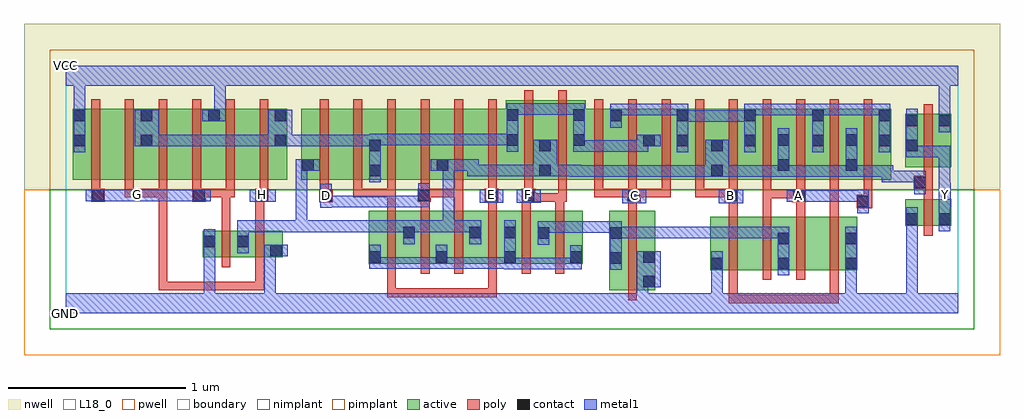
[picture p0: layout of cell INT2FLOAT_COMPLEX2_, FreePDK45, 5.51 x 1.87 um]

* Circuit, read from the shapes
.subckt INT2FLOAT_COMPLEX2_ A B C D E F G GND H VCC Y
M1 n1 G GND VSUBS nfet w=0.15u l=0.05u
M2 GND H n1 VSUBS nfet w=0.15u l=0.05u
M3 n1 E n2 VSUBS nfet w=0.3u l=0.05u m=2
M4 n2 D n1 VSUBS nfet w=0.3u l=0.05u m=2
M5 n3 F n2 VSUBS nfet w=0.3u l=0.05u m=2
M6 GND C n3 VSUBS nfet w=0.45u l=0.05u
M7 n4 B GND VSUBS nfet w=0.3u l=0.05u
M8 n3 A n4 VSUBS nfet w=0.3u l=0.05u
M9 n5 A n3 VSUBS nfet w=0.3u l=0.05u
M10 GND B n5 VSUBS nfet w=0.3u l=0.05u
M11 Y n1 GND VSUBS nfet w=0.15u l=0.05u
M12 n6 G VCC n7 pfet w=0.4u l=0.05u
M13 n8 H n6 n7 pfet w=0.4u l=0.05u
M14 n9 H n8 n7 pfet w=0.4u l=0.05u
M15 VCC G n9 n7 pfet w=0.4u l=0.05u
M16 n10 G VCC n7 pfet w=0.4u l=0.05u
M17 n8 H n10 n7 pfet w=0.4u l=0.05u
M18 n11 D n1 n7 pfet w=0.4u l=0.05u
M19 n8 E n11 n7 pfet w=0.4u l=0.05u
M20 n12 E n8 n7 pfet w=0.4u l=0.05u
M21 n1 D n12 n7 pfet w=0.4u l=0.05u
M22 n13 D n1 n7 pfet w=0.4u l=0.05u
M23 n8 E n13 n7 pfet w=0.4u l=0.05u
M24 n1 F n8 n7 pfet w=0.45u l=0.05u m=2
M25 n14 C n8 n7 pfet w=0.4u l=0.05u m=3
M26 n1 B n14 n7 pfet w=0.4u l=0.05u m=3
M27 n1 A n14 n7 pfet w=0.4u l=0.05u m=3
M28 VCC n1 Y n7 pfet w=0.3u l=0.05u
.ends

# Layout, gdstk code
import gdstk
lib = gdstk.Library(unit=1e-6, precision=1e-09)
def R(c, l, rs):  # rectangles x0, y0, x1, y1
    for r in rs: c.add(gdstk.rectangle(r[:2], r[2:], *l))
def A(c, l, x, y, w, h, nx, ny, dx, dy):  # array of equal rectangles
    R(c, l, [(x+i*dx, y+j*dy, x+i*dx+w, y+j*dy+h) for i in range(nx) for j in range(ny)])
active = (1, 0)
pwell = (2, 0)
nwell = (3, 0)
nimplant = (4, 0)
pimplant = (5, 0)
poly = (9, 0)
contact = (10, 0)
metal1 = (11, 0)
L18_0 = (18, 0)
boundary = (235, 0)

int2float_complex2_ = lib.new_cell('INT2FLOAT_COMPLEX2_')
A(int2float_complex2_, active, 0.04, 0.755, 0.225, 0.4, 3, 1, 0.38, 0)
A(int2float_complex2_, active, 1.33, 0.755, 0.225, 0.4, 3, 1, 0.38, 0)
R(int2float_complex2_, active, [(3.07,0.13,3.33,0.58), (3.255,0.13,3.33,0.547), (3.07,0.195,3.145,0.58), (3.64,0.245,3.715,0.545), (3.64,0.245,3.865,0.545), (3.865,0.245,4.09,0.545), (4.015,0.245,4.245,0.545), (4.015,0.245,4.09,0.517), (4.245,0.245,4.47,0.545), (4.395,0.245,4.47,0.545), (1.71,0.28,1.785,0.58), (1.71,0.28,1.975,0.58), (1.9,0.28,2.16,0.58), (2.085,0.28,2.35,0.58), (2.085,0.28,2.16,0.517), (2.275,0.28,2.545,0.58), (2.47,0.28,2.735,0.58), (2.47,0.28,2.545,0.495), (2.66,0.28,2.92,0.58), (2.845,0.28,2.92,0.58), (0.775,0.317,0.85,0.467), (0.775,0.317,1.04,0.467), (0.965,0.317,1.04,0.467), (0.965,0.317,1.225,0.467), (1.15,0.317,1.225,0.467), (1.9,0.345,1.975,0.495), (2.275,0.345,2.35,0.495), (2.66,0.345,2.735,0.492), (4.74,0.495,4.815,0.645), (4.74,0.495,5,0.645), (4.925,0.495,5,0.645), (0.04,0.755,0.115,1.155), (0.265,0.755,0.495,1.155), (0.42,0.755,0.495,1.155), (0.645,0.755,0.875,1.155), (1.025,0.755,1.25,1.155), (1.175,0.755,1.25,1.155), (1.33,0.755,1.435,1.07), (1.555,0.755,1.785,1.155), (1.71,0.755,1.785,1.155), (1.935,0.755,2.165,1.155), (2.09,0.755,2.165,1.07), (2.315,0.755,2.56,1.155), (2.485,0.755,2.745,1.205), (2.67,0.755,2.745,1.07), (2.67,0.755,2.935,1.205), (2.86,0.755,3.145,1.155), (3.07,0.755,3.33,1.155), (3.255,0.755,3.52,1.155), (3.445,0.755,3.52,1.155), (3.445,0.755,3.715,1.155), (3.64,0.755,3.9,1.155), (3.64,0.755,3.715,1.07), (3.825,0.755,4.09,1.155), (4.015,0.755,4.09,1.07), (4.015,0.755,4.285,1.155), (4.21,0.755,4.475,1.155), (4.4,0.755,4.66,1.155), (4.4,0.755,4.475,1.07), (4.585,0.755,4.66,1.155), (2.485,0.827,2.56,1.2), (2.86,0.827,2.935,1.2), (3.825,0.827,3.9,1.155), (4.21,0.827,4.285,1.155), (4.74,0.827,4.815,1.127), (4.74,0.827,5,1.127), (4.925,0.827,5,1.127), (3.255,0.852,3.33,1.07), (0.8,0.907,0.875,1.155), (3.07,0.907,3.145,1.155)])
R(int2float_complex2_, pwell, [(-0.235,-0.235,5.275,0.7)])
R(int2float_complex2_, nwell, [(-0.235,0.7,5.275,1.635)])
R(int2float_complex2_, nimplant, [(-0.09,-0.09,5.13,0.7)])
R(int2float_complex2_, pimplant, [(-0.09,0.7,5.13,1.49)])
A(int2float_complex2_, poly, 3.745, 0.19, 0.05, 0.41, 4, 1, 0.19, 0)
A(int2float_complex2_, poly, 1.815, 0.225, 0.05, 0.41, 6, 1, 0.19, 0)
A(int2float_complex2_, poly, 2.385, 0.585, 0.05, 0.095, 3, 1, 0.19, 0)
A(int2float_complex2_, poly, 0.145, 0.655, 0.05, 0.095, 6, 1, 0.19, 0)
A(int2float_complex2_, poly, 1.625, 0.655, 0.05, 0.095, 5, 1, 0.19, 0)
A(int2float_complex2_, poly, 2.985, 0.655, 0.05, 0.095, 5, 1, 0.19, 0)
A(int2float_complex2_, poly, 0.145, 0.7, 0.05, 0.51, 6, 1, 0.19, 0)
A(int2float_complex2_, poly, 1.435, 0.7, 0.05, 0.51, 6, 1, 0.19, 0)
A(int2float_complex2_, poly, 2.985, 0.7, 0.05, 0.51, 9, 1, 0.19, 0)
R(int2float_complex2_, poly, [(3.745,0.057,3.795,0.107), (3.745,0.057,3.795,0.107), (3.745,0.057,3.795,0.107), (3.745,0.057,3.795,0.24), (3.745,0.057,4.02,0.107), (3.97,0.057,4.02,0.107), (3.97,0.057,4.02,0.107), (3.97,0.057,4.02,0.107), (3.97,0.057,4.232,0.107), (4.182,0.057,4.232,0.107), (4.182,0.057,4.365,0.107), (4.315,0.057,4.365,0.107), (4.315,0.057,4.365,0.107), (4.315,0.057,4.365,0.107), (4.315,0.057,4.365,0.24), (3.175,0.075,3.225,0.635), (1.815,0.092,1.865,0.142), (1.815,0.092,1.865,0.142), (1.815,0.092,1.865,0.142), (1.815,0.092,1.865,0.275), (1.815,0.092,2.112,0.142), (2.062,0.092,2.112,0.142), (2.062,0.092,2.112,0.142), (2.062,0.092,2.112,0.142), (2.062,0.092,2.285,0.142), (2.235,0.092,2.285,0.142), (2.235,0.092,2.435,0.142), (2.385,0.092,2.435,0.142), (2.385,0.092,2.435,0.142), (2.385,0.092,2.435,0.142), (2.385,0.092,2.435,0.275), (0.525,0.13,0.575,0.18), (0.525,0.13,0.725,0.18), (0.525,0.13,0.575,0.705), (0.675,0.13,0.725,0.18), (0.675,0.13,0.725,0.18), (0.675,0.13,0.725,0.18), (0.675,0.13,0.725,0.18), (0.675,0.13,0.725,0.18), (0.675,0.13,0.947,0.18), (0.897,0.13,0.947,0.18), (0.897,0.13,0.947,0.18), (0.897,0.13,0.947,0.18), (0.897,0.13,1.12,0.18), (1.07,0.13,1.12,0.18), (1.07,0.13,1.12,0.18), (1.07,0.13,1.12,0.18), (1.07,0.13,1.12,0.312), (0.88,0.262,0.93,0.522), (1.07,0.262,1.12,0.522), (4.845,0.44,4.895,0.7), (0.88,0.472,0.93,0.705), (1.07,0.472,1.12,0.68), (3.745,0.55,3.795,0.68), (3.935,0.55,3.985,0.702), (4.125,0.55,4.175,0.677), (4.315,0.55,4.365,0.705), (1.815,0.585,1.865,0.705), (2.005,0.585,2.055,0.68), (2.195,0.585,2.245,0.705), (3.175,0.585,3.225,0.68), (4.465,0.595,4.555,0.67), (4.505,0.62,4.555,0.75), (1.432,0.627,1.507,0.702), (4.102,0.627,4.177,0.702), (0.145,0.63,0.22,0.705), (0.715,0.63,0.79,0.705), (1.07,0.63,1.145,0.705), (1.987,0.63,2.062,0.705), (2.367,0.63,2.442,0.705), (2.575,0.63,2.652,0.705), (2.602,0.63,2.815,0.68), (2.765,0.63,2.815,0.68), (2.765,0.63,2.815,0.68), (2.765,0.63,2.83,0.68), (2.78,0.63,2.83,0.75), (3.172,0.63,3.247,0.705), (3.72,0.63,3.795,0.705), (4.845,0.65,4.895,0.752), (1.435,0.652,1.485,0.75), (3.935,0.652,3.985,0.702), (3.935,0.652,3.985,0.75), (3.935,0.652,4.152,0.702), (4.102,0.652,4.152,0.702), (4.102,0.652,4.152,0.702), (4.125,0.652,4.175,0.75), (0.335,0.655,0.385,0.705), (0.335,0.655,0.575,0.705), (0.525,0.655,0.575,0.705), (0.525,0.655,0.575,0.705), (0.525,0.655,0.575,0.705), (0.525,0.655,0.575,0.705), (0.525,0.655,0.575,0.705), (0.74,0.655,0.93,0.705), (0.88,0.655,0.93,0.705), (0.88,0.655,0.93,0.705), (0.88,0.655,0.955,0.705), (1.625,0.655,1.675,0.705), (1.625,0.655,1.675,0.705), (1.625,0.655,1.675,0.705), (1.625,0.655,1.865,0.705), (1.815,0.655,1.865,0.705), (2.012,0.655,2.062,0.705), (2.012,0.655,2.062,0.705), (2.012,0.655,2.245,0.705), (2.195,0.655,2.245,0.705), (2.59,0.655,2.64,0.75), (2.985,0.655,3.035,0.705), (2.985,0.655,3.035,0.705), (2.985,0.655,3.035,0.705), (2.985,0.655,3.222,0.705), (3.197,0.655,3.415,0.705), (3.365,0.655,3.415,0.705), (3.365,0.655,3.415,0.705), (3.365,0.655,3.415,0.705), (3.555,0.655,3.605,0.705), (3.555,0.655,3.605,0.705), (3.555,0.655,3.605,0.705), (3.555,0.655,3.77,0.705), (4.315,0.655,4.365,0.75), (4.315,0.655,4.365,0.705), (2.59,0.7,2.64,1.26), (2.78,0.7,2.83,1.26), (4.787,0.702,4.895,0.777), (4.845,0.727,4.895,0.822), (4.845,0.772,4.895,1.182)])
A(int2float_complex2_, contact, 0.045, 1.085, 0.065, 0.065, 3, 1, 0.38, 0)
R(int2float_complex2_, contact, [(3.26,0.147,3.325,0.212), (3.645,0.25,3.71,0.315), (4.02,0.25,4.085,0.315), (4.4,0.25,4.465,0.315), (3.075,0.282,3.14,0.347), (2.475,0.285,2.54,0.35), (2.85,0.285,2.915,0.35), (1.715,0.287,1.78,0.352), (2.09,0.287,2.155,0.352), (3.26,0.287,3.325,0.352), (1.155,0.322,1.22,0.387), (0.78,0.375,0.845,0.44), (0.97,0.375,1.035,0.44), (4.02,0.39,4.085,0.455), (4.4,0.39,4.465,0.455), (2.665,0.422,2.73,0.487), (3.075,0.422,3.14,0.487), (1.905,0.425,1.97,0.49), (2.28,0.425,2.345,0.49), (2.475,0.425,2.54,0.49), (4.745,0.5,4.81,0.565), (4.93,0.5,4.995,0.565), (4.47,0.6,4.535,0.665), (1.437,0.632,1.502,0.697), (4.107,0.632,4.172,0.697), (0.15,0.635,0.215,0.7), (0.72,0.635,0.785,0.7), (1.075,0.635,1.14,0.7), (1.992,0.635,2.057,0.7), (2.372,0.635,2.437,0.7), (2.582,0.635,2.647,0.7), (3.177,0.635,3.242,0.7), (3.725,0.635,3.79,0.7), (4.792,0.707,4.857,0.772), (1.715,0.775,1.78,0.84), (2.675,0.775,2.74,0.84), (3.645,0.775,3.71,0.84), (1.335,0.805,1.4,0.87), (2.095,0.807,2.16,0.872), (4.02,0.807,4.085,0.872), (4.405,0.807,4.47,0.872), (1.715,0.915,1.78,0.98), (2.675,0.915,2.74,0.98), (3.645,0.915,3.71,0.98), (4.745,0.917,4.81,0.982), (0.045,0.945,0.11,1.01), (0.425,0.945,0.49,1.01), (1.18,0.945,1.245,1.01), (3.26,0.945,3.325,1.01), (3.45,0.945,3.515,1.01), (3.83,0.945,3.895,1.01), (4.215,0.945,4.28,1.01), (4.59,0.945,4.655,1.01), (2.49,0.947,2.555,1.012), (2.865,0.947,2.93,1.012), (4.02,0.947,4.085,1.012), (4.405,0.947,4.47,1.012), (4.745,1.057,4.81,1.122), (4.93,1.057,4.995,1.122), (1.18,1.085,1.245,1.15), (3.075,1.085,3.14,1.15), (3.45,1.085,3.515,1.15), (3.83,1.085,3.895,1.15), (4.215,1.085,4.28,1.15), (4.59,1.085,4.655,1.15), (2.49,1.087,2.555,1.152), (2.865,1.087,2.93,1.152)])
R(int2float_complex2_, metal1, [(0,0,5.04,0.115), (0.78,0.05,0.845,0.115), (0.78,0.05,0.845,0.115), (0.78,0.05,0.845,0.115), (0.78,0.05,0.845,0.115), (0.78,0.05,0.845,0.405), (1.12,0.05,1.185,0.115), (1.12,0.05,1.185,0.115), (1.12,0.05,1.185,0.115), (1.12,0.05,1.185,0.115), (1.12,0.05,1.185,0.115), (1.12,0.05,1.185,0.115), (1.12,0.05,1.185,0.387), (3.225,0.05,3.29,0.115), (3.225,0.05,3.29,0.115), (3.225,0.05,3.29,0.212), (3.645,0.05,3.71,0.115), (3.645,0.05,3.71,0.115), (3.645,0.05,3.71,0.28), (4.4,0.05,4.465,0.115), (4.4,0.05,4.465,0.115), (4.4,0.05,4.465,0.115), (4.4,0.05,4.465,0.115), (4.4,0.05,4.465,0.28), (4.745,0.05,4.81,0.53), (3.225,0.147,3.36,0.352), (3.645,0.215,3.71,0.28), (3.645,0.215,3.71,0.28), (3.645,0.215,3.71,0.35), (4.02,0.215,4.085,0.49), (4.4,0.215,4.465,0.49), (3.075,0.247,3.14,0.522), (2.475,0.25,2.54,0.525), (2.475,0.25,2.705,0.315), (2.64,0.25,2.705,0.315), (2.64,0.25,2.705,0.315), (2.64,0.25,2.705,0.315), (2.64,0.25,2.915,0.315), (2.85,0.25,2.915,0.315), (2.85,0.25,2.915,0.315), (2.85,0.25,2.915,0.385), (1.715,0.252,1.78,0.317), (1.715,0.252,1.78,0.317), (1.715,0.252,1.78,0.387), (1.715,0.252,1.987,0.317), (1.922,0.252,1.987,0.317), (1.922,0.252,1.987,0.317), (1.922,0.252,1.987,0.317), (1.922,0.252,2.155,0.317), (2.09,0.252,2.155,0.387), (2.09,0.252,2.195,0.317), (2.13,0.252,2.195,0.317), (2.13,0.252,2.402,0.317), (2.337,0.252,2.402,0.317), (2.337,0.252,2.402,0.317), (2.337,0.252,2.402,0.317), (2.337,0.252,2.54,0.317), (1.12,0.322,1.255,0.387), (0.78,0.34,0.845,0.405), (0.78,0.34,0.845,0.405), (0.78,0.34,0.845,0.475), (0.97,0.34,1.035,0.475), (2.665,0.387,2.73,0.522), (1.905,0.39,1.97,0.525), (2.28,0.39,2.345,0.525), (0.97,0.41,1.035,0.475), (0.97,0.41,1.035,0.525), (3.075,0.425,3.277,0.49), (3.212,0.425,3.277,0.49), (3.212,0.425,3.277,0.49), (3.212,0.425,3.277,0.49), (3.212,0.425,3.47,0.49), (3.405,0.425,3.47,0.49), (3.405,0.425,3.537,0.49), (3.472,0.425,3.537,0.49), (3.472,0.425,3.607,0.49), (3.542,0.425,3.607,0.49), (3.542,0.425,3.745,0.49), (3.68,0.425,3.745,0.49), (3.68,0.425,3.745,0.49), (3.68,0.425,3.745,0.49), (3.68,0.425,3.947,0.49), (3.882,0.425,3.947,0.49), (3.882,0.425,3.947,0.49), (3.882,0.425,3.947,0.49), (3.882,0.425,4.085,0.49), (2.665,0.457,2.93,0.522), (2.865,0.457,2.93,0.522), (2.865,0.457,2.93,0.522), (2.865,0.457,2.93,0.522), (2.865,0.457,3.067,0.522), (3.002,0.457,3.067,0.522), (3.002,0.457,3.14,0.522), (0.97,0.46,1.365,0.525), (1.3,0.46,1.365,0.525), (1.3,0.46,1.365,0.525), (1.3,0.46,1.365,0.525), (1.3,0.46,1.502,0.525), (1.3,0.46,1.365,0.87), (1.437,0.46,1.502,0.525), (1.437,0.46,1.502,0.525), (1.437,0.46,1.502,0.525), (1.437,0.46,1.642,0.525), (1.577,0.46,1.642,0.525), (1.577,0.46,1.642,0.525), (1.577,0.46,1.642,0.525), (1.577,0.46,1.832,0.525), (1.767,0.46,1.832,0.525), (1.767,0.46,1.97,0.525), (1.905,0.46,1.97,0.525), (1.905,0.46,1.97,0.525), (1.905,0.46,2.195,0.525), (2.13,0.46,2.195,0.525), (2.13,0.46,2.195,0.525), (2.13,0.46,2.195,0.525), (2.13,0.46,2.345,0.525), (2.13,0.46,2.195,0.872), (4.745,0.465,4.81,0.53), (4.745,0.465,4.81,0.53), (4.745,0.465,4.81,0.53), (4.745,0.465,4.81,0.53), (4.745,0.465,4.81,0.53), (4.745,0.465,4.81,0.53), (4.745,0.465,4.81,0.6), (4.93,0.465,4.995,0.6), (4.93,0.535,4.995,0.667), (4.47,0.565,4.535,0.7), (1.437,0.597,1.502,0.732), (1.437,0.6,1.502,0.665), (1.437,0.6,1.502,0.665), (1.437,0.6,1.64,0.665), (1.575,0.6,1.64,0.665), (1.575,0.6,1.78,0.665), (1.715,0.6,1.78,0.665), (1.715,0.6,1.78,0.665), (1.715,0.6,1.78,0.665), (1.715,0.6,1.987,0.665), (1.922,0.6,1.987,0.665), (1.922,0.6,2.057,0.665), (1.992,0.6,2.057,0.735), (4.93,0.602,4.997,0.737), (3.142,0.622,3.277,0.7), (3.687,0.622,3.825,0.7), (2.337,0.625,2.472,0.702), (2.547,0.625,2.682,0.702), (1.04,0.632,1.187,0.702), (4.072,0.632,4.207,0.697), (4.142,0.632,4.28,0.697), (4.215,0.632,4.28,0.697), (4.215,0.632,4.397,0.697), (4.332,0.632,4.397,0.697), (4.332,0.632,4.465,0.697), (4.4,0.632,4.465,0.697), (4.4,0.632,4.535,0.697), (0.115,0.635,0.25,0.7), (0.185,0.635,0.25,0.7), (0.185,0.635,0.25,0.7), (0.185,0.635,0.402,0.7), (0.337,0.635,0.472,0.702), (0.407,0.635,0.472,0.7), (0.407,0.635,0.472,0.7), (0.407,0.635,0.61,0.7), (0.545,0.635,0.61,0.7), (0.545,0.635,0.662,0.7), (0.597,0.635,0.662,0.7), (0.597,0.635,0.75,0.7), (0.685,0.635,0.82,0.7), (4.792,0.672,4.857,0.807), (4.93,0.672,4.995,0.947), (1.715,0.74,1.78,1.015), (4.607,0.742,4.672,0.807), (4.607,0.742,4.857,0.807), (4.607,0.742,4.672,0.837), (4.792,0.742,4.857,0.807), (4.792,0.742,4.857,0.807), (2.847,0.772,2.912,0.837), (2.847,0.772,2.912,0.837), (2.847,0.772,3.067,0.837), (2.847,0.772,2.912,0.84), (3.002,0.772,3.067,0.837), (3.002,0.772,3.067,0.837), (3.002,0.772,3.067,0.837), (3.002,0.772,3.332,0.837), (3.267,0.772,3.332,0.837), (3.267,0.772,3.332,0.837), (3.267,0.772,3.332,0.837), (3.267,0.772,3.47,0.837), (3.405,0.772,3.47,0.837), (3.405,0.772,3.537,0.837), (3.472,0.772,3.537,0.837), (3.472,0.772,3.607,0.837), (3.542,0.772,3.607,0.837), (3.542,0.772,3.675,0.837), (3.61,0.772,3.745,0.98), (3.68,0.772,3.745,0.837), (3.68,0.772,3.745,0.837), (3.68,0.772,3.947,0.837), (3.882,0.772,3.947,0.837), (3.882,0.772,3.947,0.837), (3.882,0.772,3.947,0.837), (3.882,0.772,4.085,0.837), (4.02,0.772,4.085,1.047), (4.02,0.772,4.26,0.837), (4.195,0.772,4.26,0.837), (4.195,0.772,4.26,0.837), (4.195,0.772,4.26,0.837), (4.195,0.772,4.397,0.837), (4.332,0.772,4.397,0.837), (4.332,0.772,4.47,0.837), (4.405,0.772,4.47,1.047), (4.405,0.772,4.672,0.837), (4.607,0.772,4.672,0.837), (4.607,0.772,4.672,0.837), (4.607,0.772,4.672,0.837), (2.267,0.775,2.332,0.84), (2.267,0.775,2.332,0.84), (2.267,0.775,2.567,0.84), (2.267,0.775,2.332,0.872), (2.502,0.775,2.567,0.84), (2.502,0.775,2.567,0.84), (2.502,0.775,2.567,0.84), (2.502,0.775,2.705,0.84), (2.64,0.775,2.775,0.98), (2.71,0.775,2.912,0.84), (1.3,0.805,1.365,0.87), (1.3,0.805,1.365,0.87), (1.3,0.805,1.435,0.87), (2.06,0.807,2.195,0.872), (2.13,0.807,2.195,0.872), (2.13,0.807,2.195,0.872), (2.13,0.807,2.195,0.872), (2.13,0.807,2.195,0.872), (2.13,0.807,2.332,0.872), (4.745,0.882,4.81,1.157), (4.745,0.882,4.995,0.947), (4.93,0.882,4.995,0.947), (4.93,0.882,4.995,0.947), (4.93,0.882,4.995,0.947), (0.045,0.91,0.11,1.185), (3.45,0.91,3.515,1.185), (3.83,0.91,3.895,1.185), (4.215,0.91,4.28,1.185), (4.59,0.91,4.655,1.185), (2.49,0.912,2.555,1.187), (2.865,0.912,2.93,1.187), (2.865,0.912,3.067,0.977), (3.002,0.912,3.067,0.977), (3.002,0.912,3.067,0.977), (3.002,0.912,3.067,0.977), (3.002,0.912,3.29,0.977), (3.225,0.912,3.29,1.01), (0.39,0.945,0.525,1.15), (0.46,0.945,0.61,1.01), (0.545,0.945,0.61,1.01), (0.545,0.945,0.697,1.01), (0.632,0.945,0.697,1.01), (0.632,0.945,0.747,1.01), (0.682,0.945,0.747,1.01), (0.682,0.945,0.885,1.01), (0.82,0.945,0.885,1.01), (0.82,0.945,0.885,1.01), (0.82,0.945,0.885,1.01), (0.82,0.945,1.022,1.01), (0.957,0.945,1.022,1.01), (0.957,0.945,1.022,1.01), (0.957,0.945,1.022,1.01), (0.957,0.945,1.21,1.01), (1.145,0.945,1.28,1.15), (1.215,0.945,1.28,1.01), (1.215,0.945,1.28,1.01), (1.215,0.945,1.502,1.01), (1.437,0.945,1.502,1.01), (1.437,0.945,1.502,1.01), (1.437,0.945,1.502,1.01), (1.437,0.945,1.64,1.01), (1.575,0.945,1.64,1.01), (1.575,0.945,1.78,1.01), (3.225,0.945,3.29,1.01), (3.225,0.945,3.36,1.01), (1.715,0.95,1.78,1.015), (1.715,0.95,1.78,1.015), (1.715,0.95,1.987,1.015), (1.922,0.95,1.987,1.015), (1.922,0.95,1.987,1.015), (1.922,0.95,1.987,1.015), (1.922,0.95,2.195,1.015), (2.13,0.95,2.195,1.015), (2.13,0.95,2.195,1.015), (2.13,0.95,2.195,1.015), (2.13,0.95,2.402,1.015), (2.337,0.95,2.402,1.015), (2.337,0.95,2.402,1.015), (2.337,0.95,2.402,1.015), (2.337,0.95,2.555,1.015), (4.93,1.022,4.995,1.157), (3.075,1.05,3.14,1.185), (3.45,1.082,3.607,1.147), (3.542,1.082,3.607,1.147), (3.542,1.082,3.745,1.147), (3.68,1.082,3.745,1.147), (3.68,1.082,3.745,1.147), (3.68,1.082,3.745,1.147), (3.68,1.082,3.895,1.147), (0.77,1.085,0.905,1.15), (0.84,1.085,0.905,1.35), (4.93,1.092,4.995,1.157), (4.93,1.092,4.995,1.157), (4.93,1.092,4.995,1.35), (0.045,1.12,0.11,1.35), (3.075,1.12,3.277,1.185), (3.212,1.12,3.277,1.185), (3.212,1.12,3.277,1.185), (3.212,1.12,3.277,1.185), (3.212,1.12,3.47,1.185), (3.405,1.12,3.47,1.185), (3.405,1.12,3.515,1.185), (3.83,1.12,4,1.185), (3.935,1.12,4,1.185), (3.935,1.12,4.122,1.185), (4.057,1.12,4.122,1.185), (4.057,1.12,4.26,1.185), (4.195,1.12,4.26,1.185), (4.195,1.12,4.28,1.185), (4.215,1.12,4.397,1.185), (4.332,1.12,4.397,1.185), (4.332,1.12,4.417,1.185), (4.352,1.12,4.417,1.185), (4.352,1.12,4.655,1.185), (4.59,1.12,4.655,1.185), (4.59,1.12,4.655,1.185), (2.49,1.122,2.705,1.187), (2.64,1.122,2.705,1.187), (2.64,1.122,2.705,1.187), (2.64,1.122,2.705,1.187), (2.64,1.122,2.93,1.187), (2.865,1.122,2.93,1.187), (2.865,1.122,2.93,1.187), (0,1.285,5.04,1.4)])
R(int2float_complex2_, L18_0, [(0,0,5.04,0.115), (0.78,0.05,0.845,0.115), (0.78,0.05,0.845,0.115), (0.78,0.05,0.845,0.115), (0.78,0.05,0.845,0.115), (0.78,0.05,0.845,0.405), (1.12,0.05,1.185,0.115), (1.12,0.05,1.185,0.115), (1.12,0.05,1.185,0.115), (1.12,0.05,1.185,0.115), (1.12,0.05,1.185,0.115), (1.12,0.05,1.185,0.115), (1.12,0.05,1.185,0.387), (3.225,0.05,3.29,0.115), (3.225,0.05,3.29,0.115), (3.225,0.05,3.29,0.212), (3.645,0.05,3.71,0.28), (3.645,0.05,3.71,0.115), (3.645,0.05,3.71,0.115), (4.4,0.05,4.465,0.28), (4.4,0.05,4.465,0.115), (4.4,0.05,4.465,0.115), (4.4,0.05,4.465,0.115), (4.4,0.05,4.465,0.115), (4.745,0.05,4.81,0.53), (3.225,0.147,3.36,0.352), (3.645,0.215,3.71,0.28), (3.645,0.215,3.71,0.28), (3.645,0.215,3.71,0.35), (4.4,0.215,4.465,0.49), (1.12,0.322,1.255,0.387), (0.78,0.34,0.845,0.405), (0.78,0.34,0.845,0.405), (0.78,0.34,0.845,0.475), (4.745,0.465,4.81,0.53), (4.745,0.465,4.81,0.53), (4.745,0.465,4.81,0.53), (4.745,0.465,4.81,0.53), (4.745,0.465,4.81,0.53), (4.745,0.465,4.81,0.53), (4.745,0.465,4.81,0.6), (4.93,0.465,4.995,0.6), (4.93,0.535,4.995,0.667), (4.47,0.565,4.535,0.7), (1.437,0.597,1.502,0.732), (1.437,0.6,1.502,0.665), (1.437,0.6,1.502,0.665), (1.437,0.6,1.64,0.665), (1.575,0.6,1.64,0.665), (1.575,0.6,1.78,0.665), (1.715,0.6,1.78,0.665), (1.715,0.6,1.78,0.665), (1.715,0.6,1.78,0.665), (1.715,0.6,1.987,0.665), (1.922,0.6,2.057,0.665), (1.922,0.6,1.987,0.665), (1.992,0.6,2.057,0.735), (4.93,0.602,4.997,0.737), (3.142,0.622,3.277,0.7), (3.687,0.622,3.825,0.7), (2.337,0.625,2.472,0.702), (2.547,0.625,2.682,0.702), (1.04,0.632,1.187,0.702), (1.437,0.632,1.502,0.697), (3.177,0.632,3.242,0.697), (3.722,0.632,3.787,0.697), (4.072,0.632,4.207,0.697), (4.107,0.632,4.172,0.697), (4.142,0.632,4.28,0.697), (4.215,0.632,4.28,0.697), (4.215,0.632,4.397,0.697), (4.332,0.632,4.397,0.697), (4.332,0.632,4.465,0.697), (4.4,0.632,4.535,0.697), (4.4,0.632,4.465,0.697), (0.115,0.635,0.25,0.7), (0.185,0.635,0.25,0.7), (0.185,0.635,0.25,0.7), (0.185,0.635,0.402,0.7), (0.337,0.635,0.472,0.702), (0.407,0.635,0.472,0.7), (0.407,0.635,0.472,0.7), (0.407,0.635,0.61,0.7), (0.545,0.635,0.61,0.7), (0.545,0.635,0.662,0.7), (0.597,0.635,0.662,0.7), (0.597,0.635,0.75,0.7), (0.685,0.635,0.82,0.7), (0.372,0.637,0.437,0.702), (1.077,0.637,1.142,0.702), (2.372,0.637,2.437,0.702), (2.582,0.637,2.647,0.702), (4.932,0.637,4.997,0.702), (4.93,0.672,4.995,0.947), (4.745,0.882,4.81,1.157), (4.745,0.882,4.995,0.947), (4.93,0.882,4.995,0.947), (4.93,0.882,4.995,0.947), (4.93,0.882,4.995,0.947), (0.045,0.91,0.11,1.185), (4.93,1.022,4.995,1.157), (0.77,1.085,0.905,1.15), (0.84,1.085,0.905,1.35), (4.93,1.092,4.995,1.157), (4.93,1.092,4.995,1.157), (4.93,1.092,4.995,1.35), (0.045,1.12,0.11,1.35), (0,1.285,5.04,1.4)])
R(int2float_complex2_, boundary, [(0,0,5.04,1.4)])
int2float_complex2_.add(gdstk.Label('A', (4.14,0.665), layer=11, texttype=0))
int2float_complex2_.add(gdstk.Label('B', (3.755,0.665), layer=11, texttype=0))
int2float_complex2_.add(gdstk.Label('C', (3.21,0.665), layer=11, texttype=0))
int2float_complex2_.add(gdstk.Label('D', (1.47,0.665), layer=11, texttype=0))
int2float_complex2_.add(gdstk.Label('E', (2.405,0.67), layer=11, texttype=0))
int2float_complex2_.add(gdstk.Label('F', (2.615,0.67), layer=11, texttype=0))
int2float_complex2_.add(gdstk.Label('G', (0.405,0.67), layer=11, texttype=0))
int2float_complex2_.add(gdstk.Label('H', (1.11,0.67), layer=11, texttype=0))
int2float_complex2_.add(gdstk.Label('Y', (4.965,0.67), layer=11, texttype=0))
int2float_complex2_.add(gdstk.Label('VCC', (0,1.4), layer=11, texttype=0))
int2float_complex2_.add(gdstk.Label('GND', (0,0), layer=11, texttype=0))

lib.write_gds('INT2FLOAT_COMPLEX2_.gds')
